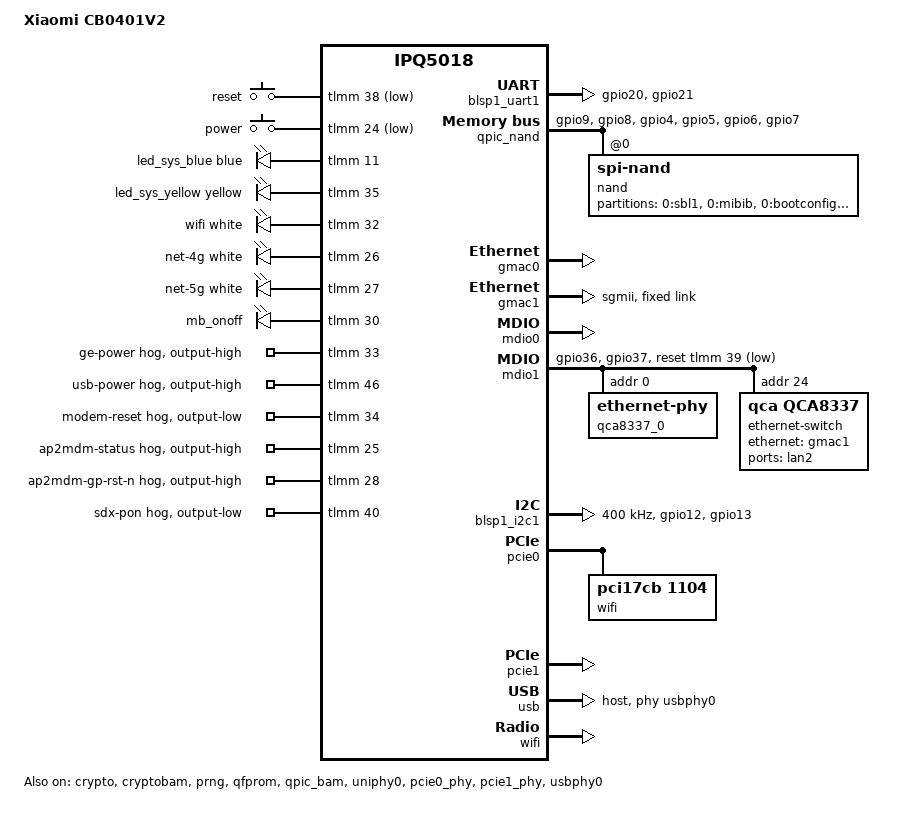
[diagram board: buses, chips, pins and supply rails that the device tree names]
/dts-v1/;
/*
 * Xiaomi CB0401V2 (Magenta 5G AX5400 V2)
 *
 * Board: IPQ5018/AP-MP03.6-C1, 512 MiB RAM, 256 MiB SPI-NAND, QCN9074 on
 * PCIe0, Quectel RG520N (SDX62) on USB (and PCIe1). Pins, LEDs, buttons,
 * partitions and the switch layout follow the stock device tree of a V2 unit.
 *
 * The unit is secure-boot fused: it runs OpenWrt through U-Boot bootm from
 * the merged "ubi" partition, started by the ESP32-C3 rescue console (see
 * tools/cb0401/).
 *
 * Ethernet runs on the upstream stmmac/dwmac-ipq5018 stack: GMAC0 drives the
 * internal GE PHY (lan1), GMAC1 the UNIPHY SGMII link to the QCA8337 (lan2).
 * The NSS core is described by ipq5018-nss.dtsi.
 *
 * The IPQ5018 radio runs the multi-PD WLAN.HK.2.7.0.1 image with only user
 * PD 1 started (ipq5018-qcn6122.dtsi), as on the other QCN9074 boards: its
 * 2.4 GHz radio completes associations under NSS Wi-Fi offload and takes
 * more than one AP. The image is not signed (no IPQ5018 WCSS image is), the
 * fused TrustZone starts it like the stock 2.6 one. It has to run offloaded:
 * on the host path the first client frames crash ath11k.
 */

#include "ipq5018.dtsi"
#include "ipq5018-ess.dtsi"
#include "ipq5018-nss.dtsi"
#include "ipq5018-qcn6122.dtsi"

#include <dt-bindings/gpio/gpio.h>
#include <dt-bindings/input/input.h>
#include <dt-bindings/leds/common.h>

/ {
	model = "Xiaomi CB0401V2";
	compatible = "xiaomi,cb0401v2", "qcom,ipq5018";

	aliases {
		label-mac-device = &gmac0;
		led-boot = &led_sys_blue;
		led-failsafe = &led_sys_yellow;
		led-running = &led_sys_blue;
		led-upgrade = &led_sys_yellow;
		serial0 = &blsp1_uart1;
	};

	chosen {
		bootargs-append = " coherent_pool=2M pcie_port_pm=off";
		stdout-path = "serial0:115200n8";
	};

	keys {
		compatible = "gpio-keys";

		pinctrl-0 = <&button_pins>;
		pinctrl-names = "default";

		reset-button {
			label = "reset";
			gpios = <&tlmm 38 GPIO_ACTIVE_LOW>;
			linux,code = <KEY_RESTART>;
			debounce-interval = <60>;
		};

		power-button {
			label = "power";
			gpios = <&tlmm 24 GPIO_ACTIVE_LOW>;
			linux,code = <KEY_POWER>;
			debounce-interval = <60>;
		};
	};

	leds {
		compatible = "gpio-leds";

		pinctrl-0 = <&leds_pins>;
		pinctrl-names = "default";

		led_sys_blue: sys-blue {
			color = <LED_COLOR_ID_BLUE>;
			function = LED_FUNCTION_POWER;
			gpios = <&tlmm 11 GPIO_ACTIVE_HIGH>;
		};

		led_sys_yellow: sys-yellow {
			color = <LED_COLOR_ID_YELLOW>;
			function = LED_FUNCTION_POWER;
			gpios = <&tlmm 35 GPIO_ACTIVE_HIGH>;
		};

		wifi {
			color = <LED_COLOR_ID_WHITE>;
			function = LED_FUNCTION_WLAN;
			gpios = <&tlmm 32 GPIO_ACTIVE_HIGH>;
		};

		net-4g {
			color = <LED_COLOR_ID_WHITE>;
			function = LED_FUNCTION_WAN_ONLINE;
			function-enumerator = <4>;
			gpios = <&tlmm 26 GPIO_ACTIVE_HIGH>;
		};

		net-5g {
			color = <LED_COLOR_ID_WHITE>;
			function = LED_FUNCTION_WAN_ONLINE;
			function-enumerator = <5>;
			gpios = <&tlmm 27 GPIO_ACTIVE_HIGH>;
		};

		/*
		 * Not a real LED: the RG520N PWRKEY ("mb_onoff", gpio30), exposed the
		 * same way the stock firmware does it. /etc/init.d/modem-power pulses
		 * it high for 1 s at boot to switch the modem on, exactly like the
		 * stock /etc/init.d/boot.
		 */
		mb_onoff {
			label = "mb_onoff";
			gpios = <&tlmm 30 GPIO_ACTIVE_HIGH>;
			default-state = "off";
		};
	};
};

/* The stock firmware reserves 4 MiB for TZ here, the SoC dtsi only 2 MiB */
&tz_region {
	reg = <0x0 0x4ac00000 0x0 0x400000>;
};

/*
 * Mirror the stock no-map regions the SoC dtsi does not know about, so the
 * usable RAM is exactly the stock /proc/iomem: 0x41000000-0x4a3fffff and
 * 0x4fd00000-0x5fffffff (the NSS region at 0x40000000 is in the SoC dtsi).
 * Engines left running by the stock firmware (QCN9074 firmware memory, dma
 * pools) may still touch these.
 */
&{/reserved-memory} {
	/*
	 * caldb tail, qcn9000_pcie0, dma_pool1, rsvd1, rsvd2; from above the
	 * multi-PD Q6 regions of ipq5018-qcn6122.dtsi (up to 0x4d200000)
	 */
	stock-rsvd@4d200000 {
		no-map;
		reg = <0x0 0x4d200000 0x0 0x2b00000>;
	};
};

&sleep_clk {
	clock-frequency = <32000>;
};

&xo_board_clk {
	clock-div = <4>;
	clock-mult = <1>;
};

&blsp1_uart1 {
	status = "okay";

	pinctrl-0 = <&serial_0_pins>;
	pinctrl-names = "default";
};

&crypto {
	status = "okay";
};

&cryptobam {
	status = "okay";
};

&prng {
	status = "okay";
};

&qfprom {
	status = "okay";
};

&qpic_bam {
	status = "okay";
};

/*
 * Secure-boot unit: the QPIC BAM is configured by TrustZone (its TRUST/EE
 * registers are XPU-protected; reading them gives an external abort). The
 * driver must not software-reset it, or the first pipe access becomes a
 * fatal secure violation. NUM_PIPES read on stock: 0x07070009 (9 pipes),
 * REVISION 0x029BA419 (4 EEs).
 */
&qpic_bam {
	qcom,controlled-remotely;
	num-channels = <9>;
	qcom,num-ees = <4>;
};

&qpic_nand {
	pinctrl-0 = <&qpic_pins>;
	pinctrl-names = "default";
	status = "okay";
	/*
	 * Secure-boot unit: TZ locks NAND_FLASH_SPI_CFG / NUM_ADDR_CYCLES /
	 * BUSY_CHECK_WAIT_CNT (XPU: 0x79b00c0..0xc8) and has programmed them for
	 * the boot chain. The driver must not touch them.
	 */
	qcom,tz-locked-spi-cfg;

	nand@0 {
		compatible = "spi-nand";
		reg = <0>;
		nand-ecc-engine = <&qpic_nand>;
		nand-bus-width = <8>;

		partitions {
			compatible = "fixed-partitions";
			#address-cells = <1>;
			#size-cells = <1>;

			partition@0 {
				label = "0:sbl1";
				reg = <0x00000000 0x80000>;
				read-only;
			};

			partition@80000 {
				label = "0:mibib";
				reg = <0x00080000 0x80000>;
				read-only;
			};

			partition@100000 {
				label = "0:bootconfig";
				reg = <0x00100000 0x40000>;
				read-only;
			};

			partition@140000 {
				label = "0:bootconfig1";
				reg = <0x00140000 0x40000>;
				read-only;
			};

			partition@180000 {
				label = "0:qsee";
				reg = <0x00180000 0x100000>;
				read-only;
			};

			partition@280000 {
				label = "0:qsee_1";
				reg = <0x00280000 0x100000>;
				read-only;
			};

			partition@380000 {
				label = "0:devcfg";
				reg = <0x00380000 0x40000>;
				read-only;
			};

			partition@3c0000 {
				label = "0:devcfg_1";
				reg = <0x003c0000 0x40000>;
				read-only;
			};

			partition@400000 {
				label = "0:cdt";
				reg = <0x00400000 0x40000>;
				read-only;
			};

			partition@440000 {
				label = "0:cdt_1";
				reg = <0x00440000 0x40000>;
				read-only;
			};

			partition@480000 {
				label = "0:appsblenv";
				reg = <0x00480000 0x80000>;
				read-only;
			};

			partition@500000 {
				label = "0:appsbl";
				reg = <0x00500000 0x140000>;
				read-only;
			};

			partition@640000 {
				label = "0:appsbl_1";
				reg = <0x00640000 0x140000>;
				read-only;
			};

			partition@780000 {
				label = "0:art";
				reg = <0x00780000 0x100000>;
				read-only;

				nvmem-layout {
					compatible = "fixed-layout";
					#address-cells = <1>;
					#size-cells = <1>;

					mac_addr_gmac0: macaddr@0 {
						reg = <0x0 0x6>;
					};

					mac_addr_gmac1: macaddr@6 {
						reg = <0x6 0x6>;
					};
				};
			};

			partition@880000 {
				label = "0:training";
				reg = <0x00880000 0x80000>;
				read-only;
			};

			partition@900000 {
				label = "bdata";
				reg = <0x00900000 0x80000>;
				read-only;
			};

			partition@980000 {
				label = "crash";
				reg = <0x00980000 0x80000>;
				read-only;
			};

			partition@a00000 {
				label = "crash_syslog";
				reg = <0x00a00000 0x80000>;
				read-only;
			};

			/*
			 * Dual boot. The stock system stays where U-Boot's bootmiwifi
			 * finds it (rootfs, rootfs_1, overlay), so the box boots the
			 * stock firmware without the rescue C3 or with an emptied
			 * environment. OpenWrt lives in the 147 MiB modem_image
			 * partition instead, as one UBI (kernel, rootfs and
			 * rootfs_data volumes); the C3 boots it with a RAM-only
			 * mtdparts "fs" over that range plus "ubi read kernel".
			 * modem_image only held the modem's firmware update package,
			 * which the stock firmware reads during its own system
			 * upgrade (such an upgrade would overwrite OpenWrt); keep a
			 * dump of it. The stock partitions are exposed under other
			 * names so that nothing mounts them, writable to restore them
			 * from a dump.
			 */
			partition@a80000 {
				label = "stock_rootfs";
				reg = <0x00a80000 0x1f00000>;
			};

			partition@2980000 {
				label = "stock_rootfs_1";
				reg = <0x02980000 0x1f00000>;
			};

			partition@4880000 {
				label = "stock_overlay";
				reg = <0x04880000 0x2140000>;
			};

			partition@69c0000 {
				label = "ubi";
				reg = <0x069c0000 0x93a0000>;
			};
		};
	};
};

/*
 * MAC0 -> GE PHY ---------------------------------- lan1
 * MAC1 -> UNIPHY -- SGMII -- QCA8337 port 6, PHY 0 -- lan2
 */

&uniphy0 {
	status = "okay";

	assigned-clocks = <&uniphy0 UNIPHY_CLK_REF>;
	assigned-clock-rates = <UNIPHY_REFCLK_25MHZ>;
};

&gmac0 {
	status = "okay";

	label = "lan1";
	nvmem-cells = <&mac_addr_gmac0 0>;
	nvmem-cell-names = "mac-address";
};

&gmac1 {
	status = "okay";

	phy-mode = "sgmii";
	nvmem-cells = <&mac_addr_gmac1 0>;
	nvmem-cell-names = "mac-address";

	fixed-link {
		speed = <1000>;
		full-duplex;
	};
};

&mdio0 {
	status = "okay";
};

&mdio1 {
	status = "okay";

	pinctrl-0 = <&mdio1_pins>;
	pinctrl-names = "default";
	reset-gpios = <&tlmm 39 GPIO_ACTIVE_LOW>;

	qca8337_0: ethernet-phy@0 {
		reg = <0>;
	};

	ethernet-switch@18 {
		compatible = "qca,qca8337";
		reg = <0x18>;
		#address-cells = <1>;
		#size-cells = <0>;

		ports {
			#address-cells = <1>;
			#size-cells = <0>;

			port@1 {
				reg = <1>;
				label = "lan2";
				phy-handle = <&qca8337_0>;
			};

			port@6 {
				reg = <6>;
				phy-mode = "sgmii";
				ethernet = <&gmac1>;
				qca,sgmii-enable-pll;
				/* forced SGMII: qca8k turns SerDes AN off for a fixed-link CPU port */

				fixed-link {
					speed = <1000>;
					full-duplex;
				};
			};
		};
	};
};

/*
 * NFC tag (FM11NT08 class, dual interface: the phone reads it over RF, we
 * write it over I2C) on BLSP1 QUP1, which the SoC dtsi does not describe.
 * The stock firmware stores a "tap to join WiFi" NDEF record in it; see
 * /usr/sbin/cb0401-nfc.
 */
&soc {
	blsp1_i2c1: i2c@78b5000 {
		compatible = "qcom,i2c-qup-v2.2.1";
		reg = <0x078b5000 0x600>;
		#address-cells = <1>;
		#size-cells = <0>;
		interrupts = <GIC_SPI 95 IRQ_TYPE_LEVEL_HIGH>;
		clocks = <&gcc GCC_BLSP1_QUP1_I2C_APPS_CLK>,
			 <&gcc GCC_BLSP1_AHB_CLK>;
		clock-names = "core", "iface";
		clock-frequency = <400000>;

		pinctrl-0 = <&i2c0_pins>;
		pinctrl-names = "default";
	};
};

&tlmm {
	button_pins: button-state {
		pins = "gpio24", "gpio38";
		function = "gpio";
		drive-strength = <8>;
		bias-pull-up;
	};

	i2c0_pins: i2c0-state {
		pins = "gpio12", "gpio13";
		function = "blsp0_i2c";
		drive-strength = <8>;
		bias-pull-up;
	};

	leds_pins: leds-state {
		pins = "gpio11", "gpio26", "gpio27", "gpio32", "gpio35";
		function = "gpio";
		drive-strength = <8>;
		bias-pull-down;
	};

	/* Stock defaults: power rails on, modem out of reset and not powered off */
	ge-power-hog {
		gpio-hog;
		gpios = <33 GPIO_ACTIVE_HIGH>;
		output-high;
		line-name = "ge-power";
	};

	usb-power-hog {
		gpio-hog;
		gpios = <46 GPIO_ACTIVE_HIGH>;
		output-high;
		line-name = "usb-power";
	};

	/*
	 * gpio34 "modem-reset" (active-high): hold LOW = modem OUT of reset, like
	 * stock. The RG520N is driven over USB (ttyUSB + qmi_wwan), and it only
	 * boots (and exposes its USB interface) when held out of reset.
	 */
	modem-reset-hog {
		gpio-hog;
		gpios = <34 GPIO_ACTIVE_HIGH>;
		output-low;
		line-name = "modem-reset";
	};

	ap2mdm-status-hog {
		gpio-hog;
		gpios = <25 GPIO_ACTIVE_HIGH>;
		output-high;
		line-name = "ap2mdm-status";
	};

	ap2mdm-gp-rst-n-hog {
		gpio-hog;
		gpios = <28 GPIO_ACTIVE_HIGH>;
		output-high;
		line-name = "ap2mdm-gp-rst-n";
	};

	sdx-pon-hog {
		gpio-hog;
		gpios = <40 GPIO_ACTIVE_HIGH>;
		output-low;
		line-name = "sdx-pon";
	};

	mdio1_pins: mdio-state {
		mdc-pins {
			pins = "gpio36";
			function = "mdc";
			drive-strength = <8>;
			bias-pull-up;
		};

		mdio-pins {
			pins = "gpio37";
			function = "mdio";
			drive-strength = <8>;
			bias-pull-up;
		};
	};

	qpic_pins: qpic-state {
		clock-pins {
			pins = "gpio9";
			function = "qspi_clk";
			drive-strength = <8>;
			bias-disable;
		};

		cs-pins {
			pins = "gpio8";
			function = "qspi_cs";
			drive-strength = <8>;
			bias-disable;
		};

		data-pins {
			pins = "gpio4", "gpio5", "gpio6", "gpio7";
			function = "qspi_data";
			drive-strength = <8>;
			bias-disable;
		};
	};

	serial_0_pins: uart0-state {
		pins = "gpio20", "gpio21";
		function = "blsp0_uart0";
		bias-disable;
	};
};

&pcie0_phy {
	status = "okay";
};

&pcie0 {
	status = "okay";

	perst-gpios = <&tlmm 15 GPIO_ACTIVE_LOW>;

	pcie@0 {
		wifi@0,0 {
			status = "okay";

			/* QCN9074: ath11k lacks DT compatible for PCI cards */
			compatible = "pci17cb,1104";
			reg = <0x00010000 0 0 0 0>;

			qcom,ath11k-calibration-variant = "Xiaomi-CB0401V2";
		};
	};
};

/*
 * PCIe link of the Quectel RG520N. The modem is driven over USB, as on
 * stock (see &usb); the link stays enabled like on the stock firmware.
 */
&pcie1_phy {
	status = "okay";
};

&pcie1 {
	status = "okay";

	/* stock DT uses the same polarity flag for both PERST lines */
	perst-gpios = <&tlmm 18 GPIO_ACTIVE_LOW>;
};

/*
 * USB 2.0 host (dwc3) with the RG520N on it: option ttyUSB AT ports and
 * qmi_wwan, like the stock firmware. usb-power-hog (gpio46) powers the port.
 */
&usbphy0 {
	status = "okay";
};

/* USB 2.0 only: no USB3 PHY, so clock the pipe from UTMI */
&usb {
	phys = <&usbphy0>;
	phy-names = "usb2-phy";
	dr_mode = "host";
	qcom,select-utmi-as-pipe-clk;

	status = "okay";
};

&wifi {
	status = "okay";

	qcom,rproc = <&q6v5_wcss>;
	qcom,ath11k-calibration-variant = "Xiaomi-CB0401V2";
	qcom,ath11k-fw-memory-mode = <1>;
};
